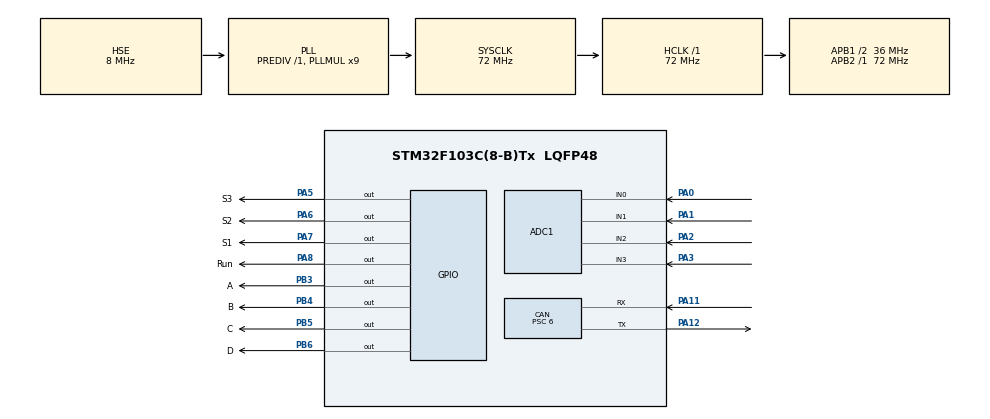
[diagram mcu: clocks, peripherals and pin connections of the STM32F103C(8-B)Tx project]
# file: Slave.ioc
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ADC1.Channel-0\#ChannelRegularConversion=ADC_CHANNEL_0
ADC1.Channel-1\#ChannelRegularConversion=ADC_CHANNEL_1
ADC1.Channel-2\#ChannelRegularConversion=ADC_CHANNEL_2
ADC1.Channel-3\#ChannelRegularConversion=ADC_CHANNEL_3
ADC1.NbrOfConversion=4
ADC1.NbrOfConversionFlag=1
ADC1.Rank-0\#ChannelRegularConversion=1
ADC1.Rank-1\#ChannelRegularConversion=2
ADC1.Rank-2\#ChannelRegularConversion=3
ADC1.Rank-3\#ChannelRegularConversion=4
ADC1.SamplingTime-0\#ChannelRegularConversion=ADC_SAMPLETIME_7CYCLES_5
ADC1.SamplingTime-1\#ChannelRegularConversion=ADC_SAMPLETIME_7CYCLES_5
ADC1.SamplingTime-2\#ChannelRegularConversion=ADC_SAMPLETIME_7CYCLES_5
ADC1.SamplingTime-3\#ChannelRegularConversion=ADC_SAMPLETIME_7CYCLES_5
ADC1.master=1
CAN.BS1=CAN_BS1_5TQ
CAN.BS2=CAN_BS2_6TQ
CAN.CalculateBaudRate=499999
CAN.CalculateTimeBit=2000
CAN.CalculateTimeQuantum=166.66666666666669
CAN.Prescaler=6
Dma.ADC1.0.Direction=DMA_PERIPH_TO_MEMORY
Dma.ADC1.0.Instance=DMA1_Channel1
Dma.ADC1.0.MemDataAlignment=DMA_MDATAALIGN_HALFWORD
Dma.ADC1.0.MemInc=DMA_MINC_ENABLE
Dma.ADC1.0.Mode=DMA_CIRCULAR
Dma.ADC1.0.PeriphDataAlignment=DMA_PDATAALIGN_HALFWORD
Dma.ADC1.0.PeriphInc=DMA_PINC_DISABLE
Dma.ADC1.0.Priority=DMA_PRIORITY_HIGH
Dma.Request0=ADC1
Mcu.Family=STM32F1
Mcu.Name=STM32F103C(8-B)Tx
Mcu.Package=LQFP48
NVIC.DMA1_Channel1_IRQn=true\:0\:0\:false\:false\:true\:false\:true
NVIC.PriorityGroup=NVIC_PRIORITYGROUP_4
NVIC.USB_LP_CAN1_RX0_IRQn=true\:0\:0\:false\:false\:true\:true\:true
PA0-WKUP.Signal=ADCx_IN0
PA1.Signal=ADCx_IN1
PA11.Mode=CAN_Activate
PA11.Signal=CAN_RX
PA12.Mode=CAN_Activate
PA12.Signal=CAN_TX
PA13.Mode=Serial_Wire
PA13.Signal=SYS_JTMS-SWDIO
PA14.Mode=Serial_Wire
PA14.Signal=SYS_JTCK-SWCLK
PA2.Signal=ADCx_IN2
PA3.Signal=ADCx_IN3
PA5.GPIO_Label=S3
PA5.GPIO_Speed=GPIO_SPEED_FREQ_HIGH
PA5.Signal=GPIO_Output
PA6.GPIO_Label=S2
PA6.GPIO_Speed=GPIO_SPEED_FREQ_HIGH
PA6.Signal=GPIO_Output
PA7.GPIO_Label=S1
PA7.GPIO_Speed=GPIO_SPEED_FREQ_HIGH
PA7.Signal=GPIO_Output
PA8.GPIO_Label=Run
PA8.GPIO_Speed=GPIO_SPEED_FREQ_HIGH
PA8.Signal=GPIO_Output
PB3.GPIO_Label=A
PB3.GPIO_Speed=GPIO_SPEED_FREQ_HIGH
PB3.Signal=GPIO_Output
PB4.GPIO_Label=B
PB4.GPIO_Speed=GPIO_SPEED_FREQ_HIGH
PB4.Signal=GPIO_Output
PB5.GPIO_Label=C
PB5.GPIO_Speed=GPIO_SPEED_FREQ_HIGH
PB5.Signal=GPIO_Output
PB6.GPIO_Label=D
PB6.GPIO_Speed=GPIO_SPEED_FREQ_HIGH
PB6.Signal=GPIO_Output
PD0-OSC_IN.Mode=HSE-External-Oscillator
PD0-OSC_IN.Signal=RCC_OSC_IN
PD1-OSC_OUT.Mode=HSE-External-Oscillator
PD1-OSC_OUT.Signal=RCC_OSC_OUT
ProjectManager.HeapSize=0x200
ProjectManager.StackSize=0x400
ProjectManager.TargetToolchain=MDK-ARM V5
RCC.ADCPresc=RCC_ADCPCLK2_DIV6
RCC.AHBFreq_Value=72000000
RCC.APB1CLKDivider=RCC_HCLK_DIV2
RCC.APB1Freq_Value=36000000
RCC.APB1TimFreq_Value=72000000
RCC.APB2Freq_Value=72000000
RCC.APB2TimFreq_Value=72000000
RCC.HCLKFreq_Value=72000000
RCC.PLLMUL=RCC_PLL_MUL9
RCC.PLLSourceVirtual=RCC_PLLSOURCE_HSE
RCC.SYSCLKFreq_VALUE=72000000
RCC.SYSCLKSource=RCC_SYSCLKSOURCE_PLLCLK
RCC.USBFreq_Value=72000000
SH.ADCx_IN0.0=ADC1_IN0,IN0
SH.ADCx_IN1.0=ADC1_IN1,IN1
SH.ADCx_IN2.0=ADC1_IN2,IN2
SH.ADCx_IN3.0=ADC1_IN3,IN3
board=custom

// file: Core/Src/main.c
/* USER CODE BEGIN Header */
/**
  ******************************************************************************
  * @file           : main.c
  * @brief          : Main program body
  ******************************************************************************
  * @attention
  *
  * Copyright (c) 2022 STMicroelectronics.
  * All rights reserved.
  *
  * This software is licensed under terms that can be found in the LICENSE file
  * in the root directory of this software component.
  * If no LICENSE file comes with this software, it is provided AS-IS.
  *
  ******************************************************************************
  */
/* USER CODE END Header */
#include "main.h"
#include "adc.h"
#include "can.h"
#include "dma.h"
#include "gpio.h"

/* USER CODE BEGIN PV */
static CAN_TxHeaderTypeDef        TxMessage;    //CAN发送的消息的消息头
static CAN_RxHeaderTypeDef        RxMessage;    //CAN接收的消息的消息头

uint8_t Collection_start;
uint8_t Collection_over;
uint8_t order[9] = {0x09,0x01,0x02,0x03,0x04,0x05,0x06,0x07,0x08};//指令集
uint8_t Send_flag;
uint8_t SendNum;

uint16_t ADC_ConvertedValue[4];//DMA存储数据的容器
uint16_t VoltageS[20][15];//阵列传感器的数据
uint8_t Voltage_data[600];//发送的阵列传感器数据

uint8_t Row_A[15] = {0,1,0,1,0,1,0,1,0,1,0,1,0,1,0};
uint8_t Row_B[15] = {0,0,1,1,0,0,1,1,0,0,1,1,0,0,1};
uint8_t Row_C[15] = {0,0,0,0,1,1,1,1,0,0,0,0,1,1,1};
uint8_t Row_D[15] = {0,0,0,0,0,0,0,0,1,1,1,1,1,1,1};//1~14

uint8_t Lists[20] = {13,16,3,6,
										 12,17,2,7,
										 11,18,1,8,
										 14,15,4,5,
										 10,19,0,9};//列顺序

uint8_t List_S1[5] = {0,1,0,1,0};
uint8_t List_S2[5] = {0,0,1,1,0};
uint8_t List_S3[5] = {0,0,0,0,1};//0~3
/* USER CODE END PV */

void SystemClock_Config(void);
/* USER CODE BEGIN PFP */
void DMA_Adc_collect(void);
void delay_us(uint32_t us);
void CAN_Send_Data(uint8_t aData[]);
void CAN_Send_Order(uint8_t order);
void VoltageS_2_VoltageD(void);
/* USER CODE END PFP */

/* USER CODE BEGIN 0 */
/**
  * @brief CAN过滤器配置函数（对ID进行过滤，只接收0x0000的信息）
  * @retval None
  */
static void CANFilter_Config(void)
{
    CAN_FilterTypeDef  sFilterConfig;

    sFilterConfig.FilterBank = 0;                       //CAN过滤器编号，范围0-27
    sFilterConfig.FilterMode = CAN_FILTERMODE_IDMASK;   //CAN过滤器模式，掩码模式或列表模式
    sFilterConfig.FilterScale = CAN_FILTERSCALE_32BIT;  //CAN过滤器尺度，16位或32位
    sFilterConfig.FilterIdHigh = 0x0000 << 5;			      //32位下，存储要过滤ID的高16位
    sFilterConfig.FilterIdLow = 0x0000;					        //32位下，存储要过滤ID的低16位
    sFilterConfig.FilterMaskIdHigh = 0xFFFF;			      //掩码模式下，存储的是掩码
    sFilterConfig.FilterMaskIdLow = 0xFFFF;
    sFilterConfig.FilterFIFOAssignment = 0;				      //报文通过过滤器的匹配后，存储到哪个FIFO
    sFilterConfig.FilterActivation = ENABLE;    		    //激活过滤器
    sFilterConfig.SlaveStartFilterBank = 0;

    if (HAL_CAN_ConfigFilter(&hcan, &sFilterConfig) != HAL_OK) {
        Error_Handler();
    }
}
/* USER CODE END 0 */

int main(void)
{

  /* MCU Configuration--------------------------------------------------------*/

  /* Reset of all peripherals, Initializes the Flash interface and the Systick. */
  HAL_Init();

  /* Configure the system clock */
  SystemClock_Config();

  /* Initialize all configured peripherals */
  MX_GPIO_Init();
  MX_DMA_Init();
  MX_ADC1_Init();
  MX_CAN_Init();
  /* USER CODE BEGIN 2 */
	HAL_ADCEx_Calibration_Start(&hadc1);//开启ADC校准

	/* 1. CAN Filter Config */
	CANFilter_Config();

	/* 2. CAN Start */
	if(HAL_CAN_Start(&hcan) != HAL_OK)
	{
		Error_Handler();
	}

  /* 3. Enable CAN RX Interrupt */
	if(HAL_CAN_ActivateNotification(&hcan, CAN_IT_RX_FIFO0_MSG_PENDING) != HAL_OK)
	{
		Error_Handler();
	}

  /* USER CODE END 2 */

  /* Infinite loop */
  /* USER CODE BEGIN WHILE */
  while (1)
  {
		if(Collection_start == 1)//开始数据采集
		{
			DMA_Adc_collect();
			VoltageS_2_VoltageD();
			Collection_start = 0;//采集开始标志置0
			Collection_over = 1;//采集结束标志置1
			SendNum = 0;//数据发送计数位清零
		}

		//################从机1取消下方注释，其他从机保持注释#####################
		if(Collection_over == 1)
		{
			CAN_Send_Order(order[0]);//发送采集结束指令
			Collection_over = 0;//采集结束标志置0
		}

		if(Send_flag == 1)
		{
			CAN_Send_Data(Voltage_data);//发送采集数据
			Send_flag = 0;//发送标志置0
		}

    /* USER CODE END WHILE */

  }
}

void SystemClock_Config(void)
{
  RCC_OscInitTypeDef RCC_OscInitStruct = {0};
  RCC_ClkInitTypeDef RCC_ClkInitStruct = {0};
  RCC_PeriphCLKInitTypeDef PeriphClkInit = {0};

  /** Initializes the RCC Oscillators according to the specified parameters
  * in the RCC_OscInitTypeDef structure.
  */
  RCC_OscInitStruct.OscillatorType = RCC_OSCILLATORTYPE_HSE;
  RCC_OscInitStruct.HSEState = RCC_HSE_ON;
  RCC_OscInitStruct.HSEPredivValue = RCC_HSE_PREDIV_DIV1;
  RCC_OscInitStruct.HSIState = RCC_HSI_ON;
  RCC_OscInitStruct.PLL.PLLState = RCC_PLL_ON;
  RCC_OscInitStruct.PLL.PLLSource = RCC_PLLSOURCE_HSE;
  RCC_OscInitStruct.PLL.PLLMUL = RCC_PLL_MUL9;
  if (HAL_RCC_OscConfig(&RCC_OscInitStruct) != HAL_OK)
  {
    Error_Handler();
  }
  /** Initializes the CPU, AHB and APB buses clocks
  */
  RCC_ClkInitStruct.ClockType = RCC_CLOCKTYPE_HCLK|RCC_CLOCKTYPE_SYSCLK
                              |RCC_CLOCKTYPE_PCLK1|RCC_CLOCKTYPE_PCLK2;
  RCC_ClkInitStruct.SYSCLKSource = RCC_SYSCLKSOURCE_PLLCLK;
  RCC_ClkInitStruct.AHBCLKDivider = RCC_SYSCLK_DIV1;
  RCC_ClkInitStruct.APB1CLKDivider = RCC_HCLK_DIV2;
  RCC_ClkInitStruct.APB2CLKDivider = RCC_HCLK_DIV1;

  if (HAL_RCC_ClockConfig(&RCC_ClkInitStruct, FLASH_LATENCY_2) != HAL_OK)
  {
    Error_Handler();
  }
  PeriphClkInit.PeriphClockSelection = RCC_PERIPHCLK_ADC;
  PeriphClkInit.AdcClockSelection = RCC_ADCPCLK2_DIV6;
  if (HAL_RCCEx_PeriphCLKConfig(&PeriphClkInit) != HAL_OK)
  {
    Error_Handler();
  }
}

/* USER CODE BEGIN 4 */
/**
  * @brief 读取DMA_AD值
  * @retval None
  */
void DMA_Adc_collect(void)
{
	uint8_t r,l,i,n;
	for(l=0; l<15; l++)//列,绿线15
	{

		HAL_GPIO_WritePin(GPIOB, A_Pin, Row_A[0]);
		HAL_GPIO_WritePin(GPIOB, B_Pin, Row_B[0]);
		HAL_GPIO_WritePin(GPIOB, C_Pin, Row_C[0]);
		HAL_GPIO_WritePin(GPIOB, D_Pin, Row_D[0]);
		for(r=0; r<5; r++)//行,红线20
		{
			HAL_GPIO_WritePin(GPIOA, S1_Pin, List_S1[0]);
			HAL_GPIO_WritePin(GPIOA, S2_Pin, List_S2[0]);
			HAL_GPIO_WritePin(GPIOA, S3_Pin, List_S3[0]);
			delay_us(50);
			HAL_ADC_Start_DMA(&hadc1, (uint32_t*)&ADC_ConvertedValue, 4);
			delay_us(50);
			for(i=0;i<4;i++)
			{
				n = Lists[r*4+i];//行顺序
				VoltageS[n][l]=(uint16_t)((float)ADC_ConvertedValue[i]/4096*3.300*1000)%10000;
			}
		}
	}
}

/**
  * @brief  数据转换函数
  * @retval None
  */
void VoltageS_2_VoltageD(void)
{
	uint8_t r,l;
	for(l=0; l<15; l++)//列,绿线15
	{
		for(r=0; r<20; r++)//行,红线20
		{
			Voltage_data[l*20+r*2+0] = VoltageS[r][l]>>8;//数据高位
			Voltage_data[l*20+r*2+1] = VoltageS[r][l]&0xff;//数据低位
		}
	}
}

/**
  * @brief 延时函数（单位us）
  * @retval None
  */
void delay_us(uint32_t us)
{
    uint32_t delay = (HAL_RCC_GetHCLKFreq() / 4000000 * us);
    while (delay--)
	{
		;
	}
}

/**
  * @brief  CAN 发送数据测试函数
  * @param  aData: 发送的数据
  * @param  len: 数据的长度
  * @retval None
  */
void CAN_Send_Order(uint8_t order)
{
	uint8_t data[1];
	data[0] = order;

	uint32_t TxMailbox;
	TxMessage.IDE = CAN_ID_STD;     //设置ID类型
	TxMessage.StdId = 0x0001;       //设置ID号，#########根据从机的序号更改############
	TxMessage.RTR = CAN_RTR_DATA;   //设置传送数据帧
	TxMessage.DLC = 1;              //设置数据长度

	if (HAL_CAN_AddTxMessage(&hcan, &TxMessage, data, &TxMailbox) != HAL_OK)
	{
		Error_Handler();
	}
}

/**
  * @brief  CAN 发送数据测试函数
  * @param  aData: 发送的数据
  * @param  len: 数据的长度
  * @retval None
  */
void CAN_Send_Data(uint8_t aData[])
{
	uint8_t i;
	uint8_t data[8];
	uint32_t TxMailbox;

	TxMessage.IDE = CAN_ID_STD;     //设置ID类型
	TxMessage.StdId = 0x0001;       //设置ID号，#########根据从机的序号更改############
	TxMessage.RTR = CAN_RTR_DATA;   //设置传送数据帧
	TxMessage.DLC = 8;              //设置数据长度

	for(i=0; i<8; i++)//每次发送8个数据
	{
		data[i] = i;//aData[(SendNum-1)*8+i];
	}

	if (HAL_CAN_AddTxMessage(&hcan, &TxMessage, data, &TxMailbox) != HAL_OK)
	{
		Error_Handler();
	}
}

/**
  * @brief CAN接收中断处理函数
  * @retval None
  */
void HAL_CAN_RxFifo0MsgPendingCallback(CAN_HandleTypeDef *hcan)
{
	uint8_t  data[8];

	HAL_StatusTypeDef	status;

	status = HAL_CAN_GetRxMessage(hcan, CAN_RX_FIFO0, &RxMessage, data);
	if(status == HAL_OK)
	{
		if(RxMessage.StdId == 0x0000)//只接收主机信息
		{
			switch(data[0])
			{
				case 0x09://数据采集指令
					Collection_start = 1;//采集开始标志置0
					break;
				case 0x01://本机地址，#########根据从机的序号更改############
					Send_flag = 1;//发送标志置1
					SendNum++;
					HAL_GPIO_TogglePin(GPIOA,Run_Pin);
					break;
			}
		}
	}
}

/* USER CODE END 4 */

void Error_Handler(void)
{
  __disable_irq();
  while (1)
  {
  }
}
